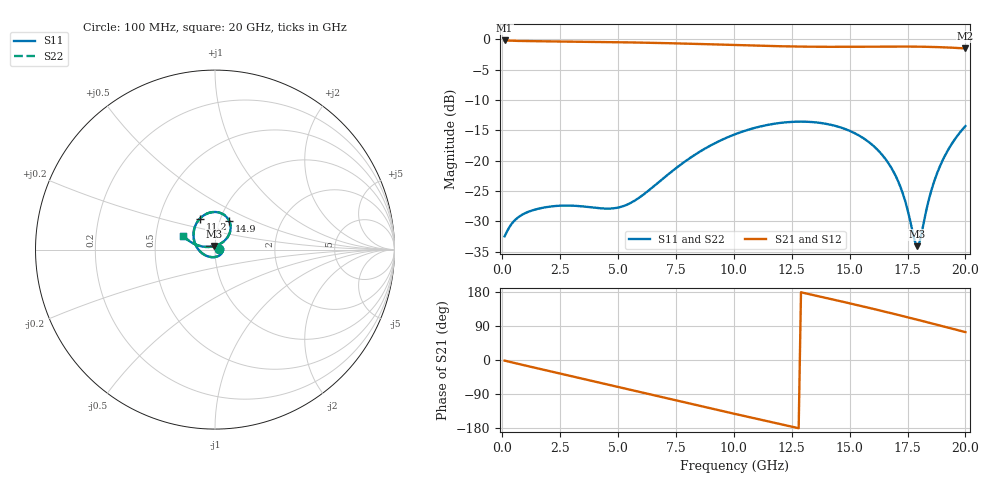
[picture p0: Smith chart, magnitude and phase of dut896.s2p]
! Touchstone file exported from HFSS 2026.1.0
!  File:  C:/ffzhzh/LocalFiles/Ansys_Project_Files/temp_train_TSV_RDL_896_1783275931_38820.aedt
!  Generated:  02:35:31 AM Jul  6, 2026
!  Design:  TSV_RDL
!  Project:  temp_train_TSV_RDL_896_1783275931_38820
! Variables:
!  h_bsmrdl = 4.07um
!  h_ox = 20um
!  h_rdl = 5um
!  h_sub = 82.41um
!  h_tmrdl = 2.94um
!  h_tsv = 82.41um
!  h_via = 3um
!  l_bsmrdl = 616.19um
!  l_sub = 3957.9um
!  l_tmrdl = 397.13um
!  m_sub = 200um
!  pitch = 29.79um
!  r_tsv = 8.9um
!  s_tmrdl = 10um
!  w_bsmrdl = 28.35um
!  w_sub = 500um
!  w_tmrdl = 11.92um
!  x_tsv_center1 = 403.09um
!  x_tsv_center2 = 1047.63um
!  x_tsv_center3 = 1456.68um
!  x_tsv_center4 = 2101.22um
!  x_tsv_center5 = 2510.27um
!  x_tsv_center6 = 3154.81um
# GHz S MA R 50.000000
! Terminal data exported
! Port[1] = TM_RDL1_1_T1
! Port[2] = TM_RDL5_1_T1
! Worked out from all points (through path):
!   200 points, 100 MHz to 20 GHz, reference 50 ohm
!   highest |S21| = -0.21 dB at 100 MHz (marker M1); lowest = -1.5 dB at 20 GHz (marker M2)
!   group delay of S21, straight-line fit = 39.2 ps
!   lowest |S11| = -34.1 dB at 17.9 GHz (marker M3), VSWR 1.04, Z = 49.7 + j1.94 ohm
!   |S11| at or under -10 dB: start of sweep to end of sweep
!   |S22| runs from -34.1 to -13.6 dB; largest |S21 - S12| = 7.9e-14
!   S11 on the Smith chart (normalised r, x): 100 MHz: 1.05, +0.01; 11.2 GHz: 0.80, +0.29; 14.9 GHz: 1.11, +0.37; 20 GHz: 0.69, +0.11
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0.1  0.02382 7.8  0.9765 -1.6  0.9765 -1.6  0.02382 7.8
! Gamma 0 0 0 0
! Port Impedance 50 0 50 0
0.5  0.03172 13.2  0.9702 -7.5  0.9702 -7.5  0.03171 13.2
1.2  0.03839 6.2  0.9641 -17.5  0.9641 -17.5  0.03838 6.2
2.3  0.04234 -8.7  0.9587 -33.0  0.9587 -33.0  0.0423 -8.7
3.5  0.04195 -33.9  0.9528 -50.0  0.9528 -50.0  0.04187 -33.8
5.2  0.04207 -94.8  0.9429 -74.0  0.9429 -74.0  0.0419 -94.9
6.8  0.06757 -156.1  0.9307 -96.7  0.9307 -96.7  0.06743 -156.3
8.3  0.1113 166.3  0.9157 -117.9  0.9157 -117.9  0.1112 166.1
10.1  0.1663 133.2  0.8946 -143.0  0.8946 -143.0  0.1662 133.0
11.2  0.1922 115.8  0.8825 -158.1  0.8825 -158.1  0.1922 115.7
12.3  0.2073 99.6  0.8728 -173.2  0.8728 -173.2  0.2073 99.5
13.4  0.2077 84.1  0.867 171.8  0.867 171.8  0.2078 84.0
14.9  0.1793 64.1  0.8658 151.0  0.8658 151.0  0.1793 64.0
15.9  0.1389 51.8  0.868 136.7  0.868 136.7  0.1389 51.7
16.7  0.09373 44.2  0.8698 124.9  0.8698 124.9  0.09375 44.1
17.3  0.05347 44.8  0.87 115.9  0.87 115.9  0.05347 44.7
17.9  0.01977 98.7  0.8684 106.7  0.8684 106.7  0.0197 98.5
18  0.02073 121.1  0.8679 105.1  0.8679 105.1  0.02065 121.1
18.4  0.04604 161.4  0.8651 98.9  0.8651 98.9  0.04598 161.4
18.8  0.08071 166.5  0.8609 92.6  0.8609 92.6  0.08067 166.4
19.3  0.127 164.0  0.8536 84.7  0.8536 84.7  0.1269 164.0
20  0.1926 156.5  0.8395 73.6  0.8395 73.6  0.1926 156.4
